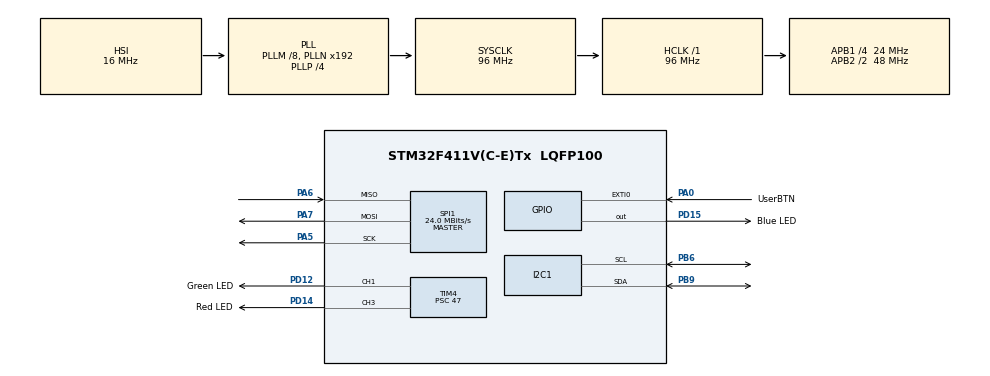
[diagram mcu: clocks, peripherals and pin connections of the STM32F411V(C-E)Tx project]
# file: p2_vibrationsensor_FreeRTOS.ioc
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FREERTOS.BinarySemaphores01=exti_sem,Dynamic,NULL,Available
FREERTOS.HEAP_NUMBER=1
FREERTOS.Mutexes01=mutexi2c1,Dynamic,NULL,Available
FREERTOS.Tasks01=defaultTask,24,128,StartDefaultTask,Default,NULL,Dynamic,NULL,NULL;task_BlinkBlue,8,128,tk_BlinkBlue,As external,NULL,Dynamic,NULL,NULL;task_ReadAccel,49,128,tk_ReadAccel,As external,NULL,Dynamic,NULL,NULL;task_WriteGreen,25,128,tk_WriteLED,As external,&data_green,Dynamic,NULL,NULL;task_ReadMagnet,48,128,tk_ReadMagnet,As external,NULL,Dynamic,NULL,NULL;task_WriteRed,24,128,tk_WriteLED,As external,&data_red,Dynamic,NULL,NULL
FREERTOS.configENABLE_FPU=1
FREERTOS.configGENERATE_RUN_TIME_STATS=1
FREERTOS.configRECORD_STACK_HIGH_ADDRESS=1
FREERTOS.configUSE_NEWLIB_REENTRANT=1
FREERTOS.configUSE_STATS_FORMATTING_FUNCTIONS=1
FREERTOS.configUSE_TICKLESS_IDLE=1
Mcu.Family=STM32F4
Mcu.Name=STM32F411V(C-E)Tx
Mcu.Package=LQFP100
NVIC.EXTI0_IRQn=true\:5\:0\:false\:false\:true\:true\:true\:true\:true
NVIC.PriorityGroup=NVIC_PRIORITYGROUP_4
NVIC.TIM1_UP_TIM10_IRQn=true\:15\:0\:false\:false\:true\:false\:false\:true\:true
NVIC.TimeBase=TIM1_UP_TIM10_IRQn
NVIC.TimeBaseIP=TIM10
PA0-WKUP.GPIO_Label=UserBTN
PA0-WKUP.Signal=GPXTI0
PA13.Mode=Serial_Wire
PA13.Signal=SYS_JTMS-SWDIO
PA14.Mode=Serial_Wire
PA14.Signal=SYS_JTCK-SWCLK
PA5.Mode=Full_Duplex_Master
PA5.Signal=SPI1_SCK
PA6.Mode=Full_Duplex_Master
PA6.Signal=SPI1_MISO
PA7.Mode=Full_Duplex_Master
PA7.Signal=SPI1_MOSI
PB6.Mode=I2C
PB6.Signal=I2C1_SCL
PB9.Mode=I2C
PB9.Signal=I2C1_SDA
PD12.GPIO_Label=Green LED
PD12.Signal=S_TIM4_CH1
PD14.GPIO_Label=Red LED
PD14.Signal=S_TIM4_CH3
PD15.GPIO_Label=Blue LED
PD15.Signal=GPIO_Output
PH0\ -\ OSC_IN.Mode=HSE-External-Oscillator
PH0\ -\ OSC_IN.Signal=RCC_OSC_IN
PH1\ -\ OSC_OUT.Mode=HSE-External-Oscillator
PH1\ -\ OSC_OUT.Signal=RCC_OSC_OUT
ProjectManager.HeapSize=0x200
ProjectManager.StackSize=0x400
ProjectManager.TargetToolchain=STM32CubeIDE
RCC.48MHZClocksFreq_Value=48000000
RCC.AHBFreq_Value=96000000
RCC.APB1CLKDivider=RCC_HCLK_DIV4
RCC.APB1Freq_Value=24000000
RCC.APB1TimFreq_Value=48000000
RCC.APB2CLKDivider=RCC_HCLK_DIV2
RCC.APB2Freq_Value=48000000
RCC.APB2TimFreq_Value=96000000
RCC.CortexFreq_Value=96000000
RCC.HCLKFreq_Value=96000000
RCC.HSE_VALUE=8000000
RCC.HSI_VALUE=16000000
RCC.LSE_VALUE=32768
RCC.PLLI2SM=5
RCC.PLLI2SN=200
RCC.PLLM=8
RCC.PLLP=RCC_PLLP_DIV4
RCC.PLLQ=8
RCC.SYSCLKFreq_VALUE=96000000
RCC.SYSCLKSource=RCC_SYSCLKSOURCE_PLLCLK
RCC.VCOOutputFreq_Value=384000000
SH.S_TIM4_CH1.0=TIM4_CH1,PWM Generation1 CH1
SH.S_TIM4_CH3.0=TIM4_CH3,PWM Generation3 CH3
SPI1.CalculateBaudRate=24.0 MBits/s
SPI1.Direction=SPI_DIRECTION_2LINES
SPI1.Mode=SPI_MODE_MASTER
SPI1.VirtualType=VM_MASTER
STMicroelectronics.X-CUBE-ALGOBUILD.1.4.0.LibraryCcDSPOoLibraryJjDSPOoLibrary=true
TIM4.Channel-PWM\ Generation1\ CH1=TIM_CHANNEL_1
TIM4.Channel-PWM\ Generation3\ CH3=TIM_CHANNEL_3
TIM4.Period=99
TIM4.Prescaler=47
VP_FREERTOS_VS_CMSIS_V2.Mode=CMSIS_V2
VP_STMicroelectronics.X-CUBE-ALGOBUILD_VS_DSPOoLibraryJjLibrary_1.4.0_1.4.0.Mode=DSPOoLibraryJjLibrary
VP_SYS_VS_tim10.Mode=TIM10
VP_TIM4_VS_ClockSourceINT.Mode=Internal
board=STM32F411E-DISCO

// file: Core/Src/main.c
/* USER CODE BEGIN Header */
/**
  ******************************************************************************
  * @file           : main.c
  * @brief          : Main program body
  ******************************************************************************
  * @attention
  *
  * Copyright (c) 2024 STMicroelectronics.
  * All rights reserved.
  *
  * This software is licensed under terms that can be found in the LICENSE file
  * in the root directory of this software component.
  * If no LICENSE file comes with this software, it is provided AS-IS.
  *
  ******************************************************************************
  */
/* USER CODE END Header */
#include "main.h"
#include "cmsis_os.h"

/* USER CODE BEGIN Includes */
#include "fsm.h"
#include "stm32f411e_discovery_accelerometer.h"
#include "stm32f411e_discovery_magnetometer.h"
#include "tasks.h"
#include <stdio.h>
/* USER CODE END Includes */

/* USER CODE BEGIN PD */
#define TH_ACC_WARN 200
#define TH_ACC_DANGER 230

#define TH_MAG_WARN 110
#define TH_MAG_DANGER 130
/* USER CODE END PD */

I2C_HandleTypeDef hi2c1;

SPI_HandleTypeDef hspi1;

TIM_HandleTypeDef htim4;

/* Definitions for defaultTask */
osThreadId_t defaultTaskHandle;
const osThreadAttr_t defaultTask_attributes = {
  .name = "defaultTask",
  .stack_size = 128 * 4,
  .priority = (osPriority_t) osPriorityNormal,
};
/* Definitions for task_BlinkBlue */
osThreadId_t task_BlinkBlueHandle;
const osThreadAttr_t task_BlinkBlue_attributes = {
  .name = "task_BlinkBlue",
  .stack_size = 128 * 4,
  .priority = (osPriority_t) osPriorityLow,
};
/* Definitions for task_ReadAccel */
osThreadId_t task_ReadAccelHandle;
const osThreadAttr_t task_ReadAccel_attributes = {
  .name = "task_ReadAccel",
  .stack_size = 128 * 4,
  .priority = (osPriority_t) osPriorityRealtime1,
};
/* Definitions for task_WriteGreen */
osThreadId_t task_WriteGreenHandle;
const osThreadAttr_t task_WriteGreen_attributes = {
  .name = "task_WriteGreen",
  .stack_size = 128 * 4,
  .priority = (osPriority_t) osPriorityNormal1,
};
/* Definitions for task_ReadMagnet */
osThreadId_t task_ReadMagnetHandle;
const osThreadAttr_t task_ReadMagnet_attributes = {
  .name = "task_ReadMagnet",
  .stack_size = 128 * 4,
  .priority = (osPriority_t) osPriorityRealtime,
};
/* Definitions for task_WriteRed */
osThreadId_t task_WriteRedHandle;
const osThreadAttr_t task_WriteRed_attributes = {
  .name = "task_WriteRed",
  .stack_size = 128 * 4,
  .priority = (osPriority_t) osPriorityNormal,
};
/* Definitions for mutexi2c1 */
osMutexId_t mutexi2c1Handle;
const osMutexAttr_t mutexi2c1_attributes = {
  .name = "mutexi2c1"
};
/* Definitions for exti_sem */
osSemaphoreId_t exti_semHandle;
const osSemaphoreAttr_t exti_sem_attributes = {
  .name = "exti_sem"
};
/* USER CODE BEGIN PV */
int encendido = 1;

write_t data_green = {1000, &htim4, TIM_CHANNEL_1, TH_ACC_WARN, TH_ACC_DANGER};
write_t data_red = {2000, &htim4, TIM_CHANNEL_3, TH_MAG_WARN, TH_MAG_DANGER};
/* USER CODE END PV */

void SystemClock_Config(void);
static void MX_GPIO_Init(void);
static void MX_I2C1_Init(void);
static void MX_SPI1_Init(void);
static void MX_TIM4_Init(void);
void StartDefaultTask(void *argument);
extern void tk_BlinkBlue(void *argument);
extern void tk_ReadAccel(void *argument);
extern void tk_WriteLED(void *argument);
extern void tk_ReadMagnet(void *argument);

/* USER CODE BEGIN PFP */
fsm_t* LEDazul;

enum estados_sistema{
	ACTIVO,
	INACTIVO,
};

static int encender(fsm_t* this){
	return encendido;
}

static int apagar(fsm_t* this){
	return !encendido; //Si pongo a 0 la variable encendido en estado activo, paso a inactivo
}

void func_LED_Activo(fsm_t* this){
	HAL_GPIO_TogglePin(Blue_LED_GPIO_Port, Blue_LED_Pin);
}

void func_LED_Inactivo(fsm_t* this){
	HAL_GPIO_WritePin(Blue_LED_GPIO_Port, Blue_LED_Pin, RESET);
}
/* USER CODE END PFP */

/* USER CODE BEGIN 0 */

static fsm_trans_t ledfsm[] = { //FSM que controla el cooldown del pulsador (antirrebote)
		{INACTIVO, encender, ACTIVO, func_LED_Activo},
		{ACTIVO, apagar, INACTIVO, func_LED_Inactivo},
		{-1, NULL, -1, NULL},
};
/* USER CODE END 0 */

int main(void)
{

  /* MCU Configuration--------------------------------------------------------*/

  /* Reset of all peripherals, Initializes the Flash interface and the Systick. */
  HAL_Init();

  /* Configure the system clock */
  SystemClock_Config();

  /* Initialize all configured peripherals */
  MX_GPIO_Init();
  MX_I2C1_Init();
  MX_SPI1_Init();
  MX_TIM4_Init();
  /* USER CODE BEGIN 2 */
  BSP_ACCELERO_Init();
  LSM303AGR_MagInit();
  TIM4 -> CCR1 = 0; //Registro CCR para el canal 1: led verde
  TIM4 -> CCR3 = 0; //Registro CCR para el canal 3: led rojo
  HAL_TIM_PWM_Start(&htim4, TIM_CHANNEL_1);
  HAL_TIM_PWM_Start(&htim4, TIM_CHANNEL_3);

  LEDazul = fsm_new(ledfsm);
  /* USER CODE END 2 */

  /* Init scheduler */
  osKernelInitialize();
  /* Create the mutex(es) */
  /* creation of mutexi2c1 */
  mutexi2c1Handle = osMutexNew(&mutexi2c1_attributes);

  /* Create the semaphores(s) */
  /* creation of exti_sem */
  exti_semHandle = osSemaphoreNew(1, 1, &exti_sem_attributes);

  /* Create the thread(s) */
  /* creation of defaultTask */
  defaultTaskHandle = osThreadNew(StartDefaultTask, NULL, &defaultTask_attributes);

  /* creation of task_BlinkBlue */
  task_BlinkBlueHandle = osThreadNew(tk_BlinkBlue, NULL, &task_BlinkBlue_attributes);

  /* creation of task_ReadAccel */
  task_ReadAccelHandle = osThreadNew(tk_ReadAccel, NULL, &task_ReadAccel_attributes);

  /* creation of task_WriteGreen */
  task_WriteGreenHandle = osThreadNew(tk_WriteLED, (void*) &data_green, &task_WriteGreen_attributes);

  /* creation of task_ReadMagnet */
  task_ReadMagnetHandle = osThreadNew(tk_ReadMagnet, NULL, &task_ReadMagnet_attributes);

  /* creation of task_WriteRed */
  task_WriteRedHandle = osThreadNew(tk_WriteLED, (void*) &data_red, &task_WriteRed_attributes);

  /* Start scheduler */
  osKernelStart();

  /* We should never get here as control is now taken by the scheduler */

  /* Infinite loop */
  while (1)
  {

  }
}

void SystemClock_Config(void)
{
  RCC_OscInitTypeDef RCC_OscInitStruct = {0};
  RCC_ClkInitTypeDef RCC_ClkInitStruct = {0};

  /** Configure the main internal regulator output voltage
  */
  __HAL_RCC_PWR_CLK_ENABLE();
  __HAL_PWR_VOLTAGESCALING_CONFIG(PWR_REGULATOR_VOLTAGE_SCALE1);

  /** Initializes the RCC Oscillators according to the specified parameters
  * in the RCC_OscInitTypeDef structure.
  */
  RCC_OscInitStruct.OscillatorType = RCC_OSCILLATORTYPE_HSI;
  RCC_OscInitStruct.HSIState = RCC_HSI_ON;
  RCC_OscInitStruct.HSICalibrationValue = RCC_HSICALIBRATION_DEFAULT;
  RCC_OscInitStruct.PLL.PLLState = RCC_PLL_ON;
  RCC_OscInitStruct.PLL.PLLSource = RCC_PLLSOURCE_HSI;
  RCC_OscInitStruct.PLL.PLLM = 8;
  RCC_OscInitStruct.PLL.PLLN = 192;
  RCC_OscInitStruct.PLL.PLLP = RCC_PLLP_DIV4;
  RCC_OscInitStruct.PLL.PLLQ = 8;
  if (HAL_RCC_OscConfig(&RCC_OscInitStruct) != HAL_OK)
  {
    Error_Handler();
  }

  /** Initializes the CPU, AHB and APB buses clocks
  */
  RCC_ClkInitStruct.ClockType = RCC_CLOCKTYPE_HCLK|RCC_CLOCKTYPE_SYSCLK
                              |RCC_CLOCKTYPE_PCLK1|RCC_CLOCKTYPE_PCLK2;
  RCC_ClkInitStruct.SYSCLKSource = RCC_SYSCLKSOURCE_PLLCLK;
  RCC_ClkInitStruct.AHBCLKDivider = RCC_SYSCLK_DIV1;
  RCC_ClkInitStruct.APB1CLKDivider = RCC_HCLK_DIV4;
  RCC_ClkInitStruct.APB2CLKDivider = RCC_HCLK_DIV2;

  if (HAL_RCC_ClockConfig(&RCC_ClkInitStruct, FLASH_LATENCY_3) != HAL_OK)
  {
    Error_Handler();
  }
}

static void MX_I2C1_Init(void)
{

  hi2c1.Instance = I2C1;
  hi2c1.Init.ClockSpeed = 100000;
  hi2c1.Init.DutyCycle = I2C_DUTYCYCLE_2;
  hi2c1.Init.OwnAddress1 = 0;
  hi2c1.Init.AddressingMode = I2C_ADDRESSINGMODE_7BIT;
  hi2c1.Init.DualAddressMode = I2C_DUALADDRESS_DISABLE;
  hi2c1.Init.OwnAddress2 = 0;
  hi2c1.Init.GeneralCallMode = I2C_GENERALCALL_DISABLE;
  hi2c1.Init.NoStretchMode = I2C_NOSTRETCH_DISABLE;
  if (HAL_I2C_Init(&hi2c1) != HAL_OK)
  {
    Error_Handler();
  }

}

static void MX_SPI1_Init(void)
{

  /* SPI1 parameter configuration*/
  hspi1.Instance = SPI1;
  hspi1.Init.Mode = SPI_MODE_MASTER;
  hspi1.Init.Direction = SPI_DIRECTION_2LINES;
  hspi1.Init.DataSize = SPI_DATASIZE_8BIT;
  hspi1.Init.CLKPolarity = SPI_POLARITY_LOW;
  hspi1.Init.CLKPhase = SPI_PHASE_1EDGE;
  hspi1.Init.NSS = SPI_NSS_SOFT;
  hspi1.Init.BaudRatePrescaler = SPI_BAUDRATEPRESCALER_2;
  hspi1.Init.FirstBit = SPI_FIRSTBIT_MSB;
  hspi1.Init.TIMode = SPI_TIMODE_DISABLE;
  hspi1.Init.CRCCalculation = SPI_CRCCALCULATION_DISABLE;
  hspi1.Init.CRCPolynomial = 10;
  if (HAL_SPI_Init(&hspi1) != HAL_OK)
  {
    Error_Handler();
  }

}

static void MX_TIM4_Init(void)
{

  TIM_ClockConfigTypeDef sClockSourceConfig = {0};
  TIM_MasterConfigTypeDef sMasterConfig = {0};
  TIM_OC_InitTypeDef sConfigOC = {0};

  htim4.Instance = TIM4;
  htim4.Init.Prescaler = 47;
  htim4.Init.CounterMode = TIM_COUNTERMODE_UP;
  htim4.Init.Period = 99;
  htim4.Init.ClockDivision = TIM_CLOCKDIVISION_DIV1;
  htim4.Init.AutoReloadPreload = TIM_AUTORELOAD_PRELOAD_DISABLE;
  if (HAL_TIM_Base_Init(&htim4) != HAL_OK)
  {
    Error_Handler();
  }
  sClockSourceConfig.ClockSource = TIM_CLOCKSOURCE_INTERNAL;
  if (HAL_TIM_ConfigClockSource(&htim4, &sClockSourceConfig) != HAL_OK)
  {
    Error_Handler();
  }
  if (HAL_TIM_PWM_Init(&htim4) != HAL_OK)
  {
    Error_Handler();
  }
  sMasterConfig.MasterOutputTrigger = TIM_TRGO_RESET;
  sMasterConfig.MasterSlaveMode = TIM_MASTERSLAVEMODE_DISABLE;
  if (HAL_TIMEx_MasterConfigSynchronization(&htim4, &sMasterConfig) != HAL_OK)
  {
    Error_Handler();
  }
  sConfigOC.OCMode = TIM_OCMODE_PWM1;
  sConfigOC.Pulse = 0;
  sConfigOC.OCPolarity = TIM_OCPOLARITY_HIGH;
  sConfigOC.OCFastMode = TIM_OCFAST_DISABLE;
  if (HAL_TIM_PWM_ConfigChannel(&htim4, &sConfigOC, TIM_CHANNEL_1) != HAL_OK)
  {
    Error_Handler();
  }
  if (HAL_TIM_PWM_ConfigChannel(&htim4, &sConfigOC, TIM_CHANNEL_3) != HAL_OK)
  {
    Error_Handler();
  }
  HAL_TIM_MspPostInit(&htim4);

}

static void MX_GPIO_Init(void)
{
  GPIO_InitTypeDef GPIO_InitStruct = {0};

  /* GPIO Ports Clock Enable */
  __HAL_RCC_GPIOH_CLK_ENABLE();
  __HAL_RCC_GPIOA_CLK_ENABLE();
  __HAL_RCC_GPIOD_CLK_ENABLE();
  __HAL_RCC_GPIOB_CLK_ENABLE();

  /*Configure GPIO pin Output Level */
  HAL_GPIO_WritePin(Blue_LED_GPIO_Port, Blue_LED_Pin, GPIO_PIN_RESET);

  /*Configure GPIO pin : UserBTN_Pin */
  GPIO_InitStruct.Pin = UserBTN_Pin;
  GPIO_InitStruct.Mode = GPIO_MODE_IT_RISING;
  GPIO_InitStruct.Pull = GPIO_NOPULL;
  HAL_GPIO_Init(UserBTN_GPIO_Port, &GPIO_InitStruct);

  /*Configure GPIO pin : Blue_LED_Pin */
  GPIO_InitStruct.Pin = Blue_LED_Pin;
  GPIO_InitStruct.Mode = GPIO_MODE_OUTPUT_PP;
  GPIO_InitStruct.Pull = GPIO_NOPULL;
  GPIO_InitStruct.Speed = GPIO_SPEED_FREQ_LOW;
  HAL_GPIO_Init(Blue_LED_GPIO_Port, &GPIO_InitStruct);

  /* EXTI interrupt init*/
  HAL_NVIC_SetPriority(EXTI0_IRQn, 5, 0);
  HAL_NVIC_EnableIRQ(EXTI0_IRQn);

}

/* USER CODE BEGIN 4 */
int __io_putchar(int ch){
	return ITM_SendChar(ch);
}

void HAL_GPIO_EXTI_Callback(uint16_t GPIO_Pin)
{
	osSemaphoreRelease(exti_semHandle);
}
/* USER CODE END 4 */

void StartDefaultTask(void *argument)
{
  /* USER CODE BEGIN 5 */
  /* Infinite loop */
  for(;;)
  {
	if(osSemaphoreAcquire(exti_semHandle, osWaitForever) == osOK){ //Si lo puede adquirir (se ha pulsado el botón)
		encendido = !encendido;
		//printf("%d", encendido);
		osDelay(500);
		osSemaphoreAcquire(exti_semHandle, 0); //Adquiere el token, no se liberará hasta que se pulse el botón
	}

  }
  /* USER CODE END 5 */
}

void HAL_TIM_PeriodElapsedCallback(TIM_HandleTypeDef *htim)
{
  if (htim->Instance == TIM10) {
    HAL_IncTick();
  }
}

void Error_Handler(void)
{
  __disable_irq();
  while (1)
  {
  }
}

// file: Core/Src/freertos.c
/* USER CODE BEGIN Header */
/**
  ******************************************************************************
  * File Name          : freertos.c
  * Description        : Code for freertos applications
  ******************************************************************************
  * @attention
  *
  * Copyright (c) 2024 STMicroelectronics.
  * All rights reserved.
  *
  * This software is licensed under terms that can be found in the LICENSE file
  * in the root directory of this software component.
  * If no LICENSE file comes with this software, it is provided AS-IS.
  *
  ******************************************************************************
  */
/* USER CODE END Header */

#include "FreeRTOS.h"
#include "task.h"
#include "main.h"

/* Hook prototypes */
void configureTimerForRunTimeStats(void);
unsigned long getRunTimeCounterValue(void);

/* USER CODE BEGIN 1 */
/* Functions needed when configGENERATE_RUN_TIME_STATS is on */
__weak void configureTimerForRunTimeStats(void)
{
	CoreDebug -> DEMCR |= CoreDebug_DEMCR_TRCENA_Msk;
	DWT -> CTRL |= DWT_CTRL_CYCCNTENA_Msk;
	DWT -> CYCCNT = 0; //Reloj de depuración, cuenta ciclos de reloj, empieza en 0;

}

__weak unsigned long getRunTimeCounterValue(void)
{
return DWT -> CYCCNT;
}
/* USER CODE END 1 */

/* USER CODE BEGIN PREPOSTSLEEP */
extern void xPortSysTickHandler (void);

/*
  SysTick handler implementation that also clears overflow flag.
*/
#if (USE_CUSTOM_SYSTICK_HANDLER_IMPLEMENTATION != 0)
void SysTick_Handler (void) {
  /* Clear overflow flag */
 // SysTick->CTRL;

  if (xTaskGetSchedulerState() != taskSCHEDULER_NOT_STARTED) {
    /* Call tick handler */
    xPortSysTickHandler();
  }
}
#endif

__weak void PreSleepProcessing(uint32_t ulExpectedIdleTime)
{
	HAL_SuspendTick();
	HAL_PWR_EnterSLEEPMode(PWR_MAINREGULATOR_ON, PWR_SLEEPENTRY_WFI);
}

__weak void PostSleepProcessing(uint32_t ulExpectedIdleTime)
{
	HAL_ResumeTick();
}
/* USER CODE END PREPOSTSLEEP */
